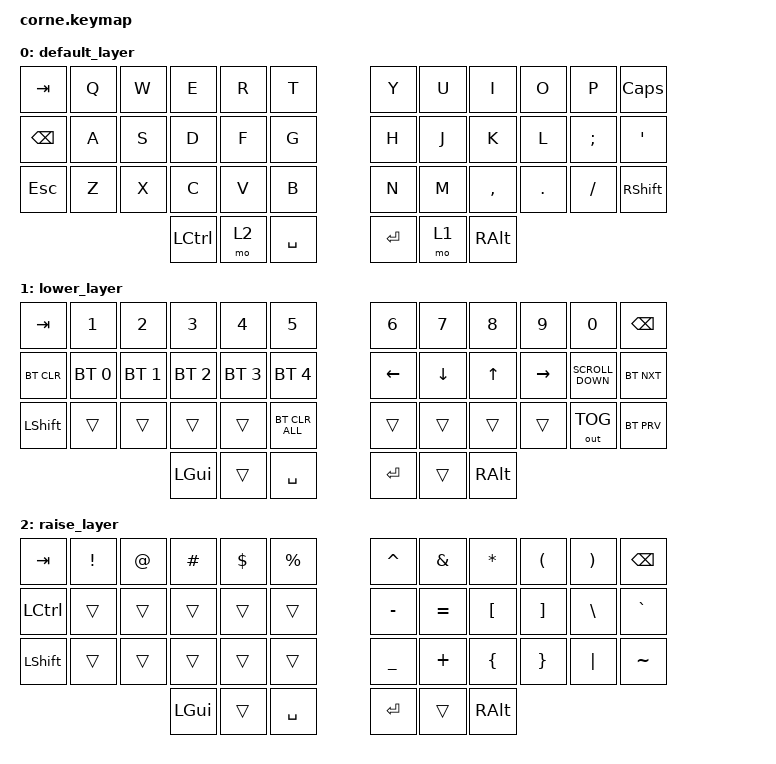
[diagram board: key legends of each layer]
/*
 * Copyright (c) 2020 The ZMK Contributors
 *
 * SPDX-License-Identifier: MIT
 */

#include <behaviors.dtsi>
#include <dt-bindings/zmk/bt.h>
#include <dt-bindings/zmk/keys.h>
#include <dt-bindings/zmk/outputs.h>

/ {
    keymap {
        compatible = "zmk,keymap";

        default_layer {
            // -----------------------------------------------------------------------------------------
            // |  TAB |  Q  |  W  |  E  |  R  |  T  |   |  Y  |  U   |  I  |  O  |  P  | BSPC |
            // | CTRL |  A  |  S  |  D  |  F  |  G  |   |  H  |  J   |  K  |  L  |  ;  |  '   |
            // | SHFT |  Z  |  X  |  C  |  V  |  B  |   |  N  |  M   |  ,  |  .  |  /  | ESC  |
            //                    | GUI | LWR | SPC |   | ENT | RSE  | ALT |

            bindings = <
&kp TAB        &kp Q  &kp W  &kp E      &kp R  &kp T        &kp Y    &kp U  &kp I      &kp O    &kp P     &kp CAPSLOCK
&kp BACKSPACE  &kp A  &kp S  &kp D      &kp F  &kp G        &kp H    &kp J  &kp K      &kp L    &kp SEMI  &kp SQT
&kp ESC        &kp Z  &kp X  &kp C      &kp V  &kp B        &kp N    &kp M  &kp COMMA  &kp DOT  &kp FSLH  &kp RIGHT_SHIFT
                             &kp LCTRL  &mo 2  &kp SPACE    &kp RET  &mo 1  &kp RALT
            >;
        };

        lower_layer {
            // -----------------------------------------------------------------------------------------
            // |  TAB |  1  |  2  |  3  |  4  |  5  |   |  6  |  7  |  8  |  9  |  0  | BSPC |
            // | BTCLR| BT1 | BT2 | BT3 | BT4 | BT5 |   | LFT | DWN |  UP | RGT |     |      |
            // | SHFT |     |     |     |     |     |   |     |     |     |     |     |      |
            //                    | GUI |     | SPC |   | ENT |     | ALT |

            bindings = <
&kp TAB     &kp N1        &kp N2        &kp N3        &kp N4        &kp N5            &kp N6    &kp N7    &kp N8    &kp N9     &kp N0             &kp BSPC
&bt BT_CLR  &bt BT_SEL 0  &bt BT_SEL 1  &bt BT_SEL 2  &bt BT_SEL 3  &bt BT_SEL 4      &kp LEFT  &kp DOWN  &kp UP    &kp RIGHT  &kp K_SCROLL_DOWN  &bt BT_NXT
&kp LSHFT   &trans        &trans        &trans        &trans        &bt BT_CLR_ALL    &trans    &trans    &trans    &trans     &out OUT_TOG       &bt BT_PRV
                                        &kp LGUI      &trans        &kp SPACE         &kp RET   &trans    &kp RALT
            >;
        };

        raise_layer {
            // -----------------------------------------------------------------------------------------
            // |  TAB |  !  |  @  |  #  |  $  |  %  |   |  ^  |  &  |  *  |  (  |  )  | BSPC |
            // | CTRL |     |     |     |     |     |   |  -  |  =  |  [  |  ]  |  \  |  `   |
            // | SHFT |     |     |     |     |     |   |  _  |  +  |  {  |  }  | "|" |  ~   |
            //                    | GUI |     | SPC |   | ENT |     | ALT |

            bindings = <
&kp TAB    &kp EXCL  &kp AT  &kp HASH  &kp DLLR  &kp PRCNT    &kp CARET  &kp AMPS   &kp ASTRK  &kp LPAR  &kp RPAR  &kp BSPC
&kp LCTRL  &trans    &trans  &trans    &trans    &trans       &kp MINUS  &kp EQUAL  &kp LBKT   &kp RBKT  &kp BSLH  &kp GRAVE
&kp LSHFT  &trans    &trans  &trans    &trans    &trans       &kp UNDER  &kp PLUS   &kp LBRC   &kp RBRC  &kp PIPE  &kp TILDE
                             &kp LGUI  &trans    &kp SPACE    &kp RET    &trans     &kp RALT
            >;
        };
    };
};
